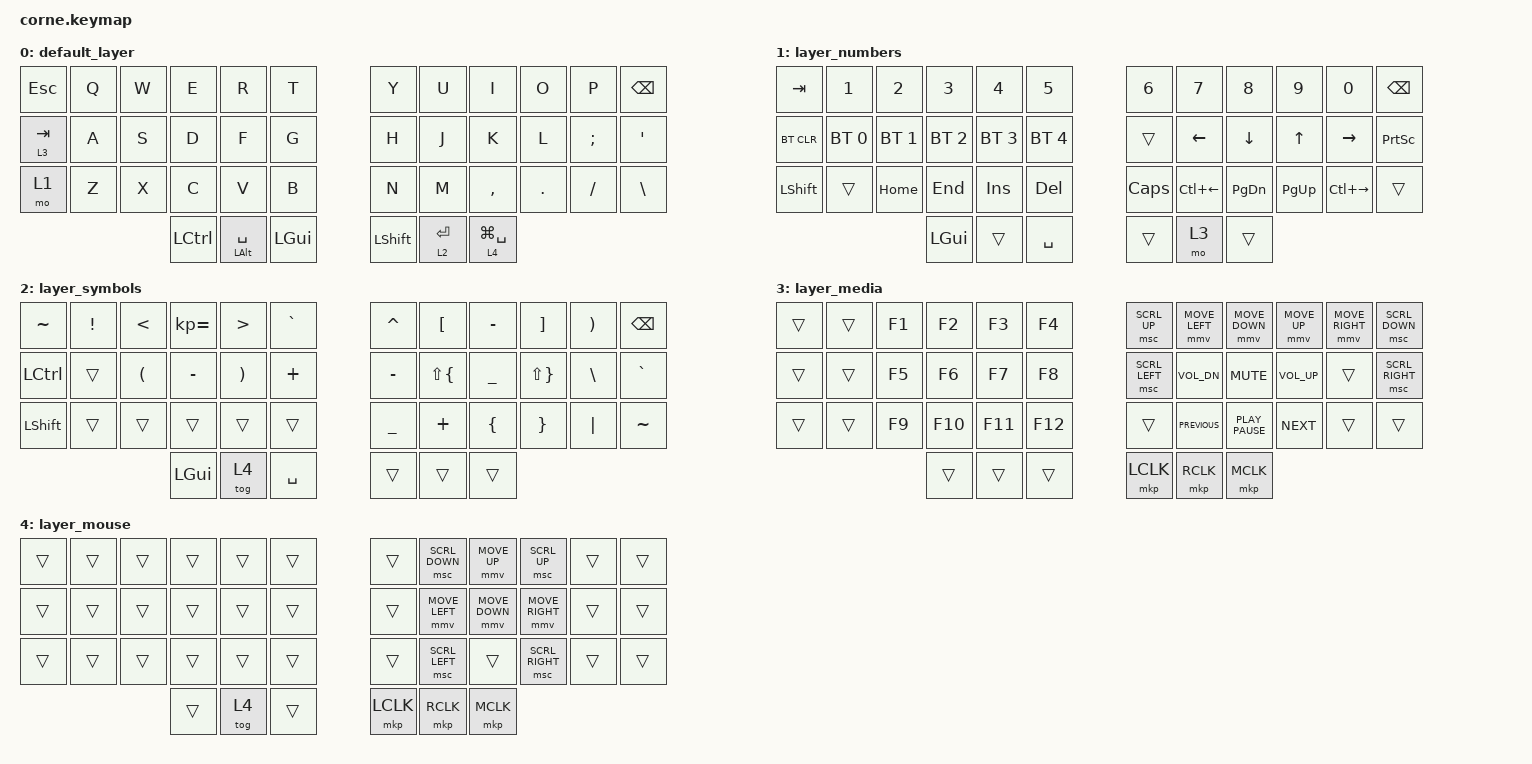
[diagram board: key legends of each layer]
/*
 * Copyright (c) 2020 The ZMK Contributors
 *
 * SPDX-License-Identifier: MIT
 */

#include <behaviors.dtsi>
#include <dt-bindings/zmk/bt.h>
#include <dt-bindings/zmk/keys.h>
#include <dt-bindings/zmk/pointing.h>
#include <dt-bindings/zmk/pointing.h>
#include <dt-bindings/zmk/pointing.h>

/ {
    combos {
        compatible = "zmk,combos";

        close_window {
            bindings = <&kp LA(F4)>;
            key-positions = <0 1>;
        };

        toggle_mouse_layer {
            bindings = <&tog 4>;
            key-positions = <2 3>;
        };
    };

    keymap {
        compatible = "zmk,keymap";

        default_layer {
            // -----------------------------------------------------------------------------------------
            // |  TAB |  Q  |  W  |  E  |  R  |  T  |   |  Y  |  U   |  I  |  O  |  P  | BSPC |
            // | CTRL |  A  |  S  |  D  |  F  |  G  |   |  H  |  J   |  K  |  L  |  ;  |  '   |
            // | SHFT |  Z  |  X  |  C  |  V  |  B  |   |  N  |  M   |  ,  |  .  |  /  | ESC  |
            //                    | GUI | LWR | SPC |   | ENT | RSE  | ALT |

            bindings = <
&kp ESC    &kp Q  &kp W  &kp E      &kp R               &kp T           &kp Y           &kp U        &kp I            &kp O    &kp P     &kp BSPC
&lt 3 TAB  &kp A  &kp S  &kp D      &kp F               &kp G           &kp H           &kp J        &kp K            &kp L    &kp SEMI  &kp SQT
&mo 1      &kp Z  &kp X  &kp C      &kp V               &kp B           &kp N           &kp M        &kp COMMA        &kp DOT  &kp FSLH  &kp BACKSLASH
                         &kp LCTRL  &mt LEFT_ALT SPACE  &kp LEFT_GUI    &kp LEFT_SHIFT  &lt 2 ENTER  &lt 4 LG(SPACE)
            >;
        };

        layer_numbers {
            // -----------------------------------------------------------------------------------------
            // |  TAB |  1  |  2  |  3  |  4  |  5  |   |  6  |  7  |  8  |  9  |  0  | BSPC |
            // | BTCLR| BT1 | BT2 | BT3 | BT4 | BT5 |   | LFT | DWN |  UP | RGT |     |      |
            // | SHFT |     |     |     |     |     |   |     |     |     |     |     |      |
            //                    | GUI |     | SPC |   | ENT |     | ALT |

            bindings = <
&kp TAB     &kp N1        &kp N2        &kp N3        &kp N4        &kp N5          &kp N6    &kp N7              &kp N8         &kp N9       &kp N0               &kp BSPC
&bt BT_CLR  &bt BT_SEL 0  &bt BT_SEL 1  &bt BT_SEL 2  &bt BT_SEL 3  &bt BT_SEL 4    &trans    &kp LEFT_ARROW      &kp DOWN       &kp UP       &kp RIGHT            &kp PRINTSCREEN
&kp LSHFT   &trans        &kp HOME      &kp END       &kp INSERT    &kp DELETE      &kp CAPS  &kp LC(LEFT_ARROW)  &kp PAGE_DOWN  &kp PAGE_UP  &kp LC(RIGHT_ARROW)  &trans
                                        &kp LGUI      &trans        &kp SPACE       &trans    &mo 3               &trans
            >;
        };

        layer_symbols {
            // -----------------------------------------------------------------------------------------
            // |  TAB |  !  |  @  |  #  |  $  |  %  |   |  ^  |  &  |  *  |  (  |  )  | BSPC |
            // | CTRL |     |     |     |     |     |   |  -  |  =  |  [  |  ]  |  \  |  `   |
            // | SHFT |     |     |     |     |     |   |  _  |  +  |  {  |  }  | "|" |  ~   |
            //                    | GUI |     | SPC |   | ENT |     | ALT |

            bindings = <
&kp TILDE  &kp EXCL  &kp LT                &kp KP_EQUAL  &kp GREATER_THAN       &kp GRAVE    &kp CARET  &kp LEFT_BRACKET    &kp MINUS  &kp RIGHT_BRACKET    &kp RPAR  &kp BSPC
&kp LCTRL  &trans    &kp LEFT_PARENTHESIS  &kp MINUS     &kp RIGHT_PARENTHESIS  &kp PLUS     &kp MINUS  &kp LS(LEFT_BRACE)  &kp UNDER  &kp LS(RIGHT_BRACE)  &kp BSLH  &kp GRAVE
&kp LSHFT  &trans    &trans                &trans        &trans                 &trans       &kp UNDER  &kp PLUS            &kp LBRC   &kp RBRC             &kp PIPE  &kp TILDE
                                           &kp LGUI      &tog 4                 &kp SPACE    &trans     &trans              &trans
            >;
        };

        layer_media {
            bindings = <
&trans  &trans  &kp F1  &kp F2   &kp F3   &kp F4     &msc SCRL_UP    &mmv MOVE_LEFT  &mmv MOVE_DOWN    &mmv MOVE_UP     &mmv MOVE_RIGHT  &msc SCRL_DOWN
&trans  &trans  &kp F5  &kp F6   &kp F7   &kp F8     &msc SCRL_LEFT  &kp C_VOL_DN    &kp K_MUTE        &kp C_VOLUME_UP  &trans           &msc SCRL_RIGHT
&trans  &trans  &kp F9  &kp F10  &kp F11  &kp F12    &trans          &kp C_PREVIOUS  &kp K_PLAY_PAUSE  &kp K_NEXT       &trans           &trans
                        &trans   &trans   &trans     &mkp LCLK       &mkp RCLK       &mkp MCLK
            >;
        };

        layer_mouse {
            bindings = <
&trans  &trans  &trans  &trans  &trans  &trans    &trans     &msc SCRL_DOWN  &mmv MOVE_UP    &msc SCRL_UP     &trans  &trans
&trans  &trans  &trans  &trans  &trans  &trans    &trans     &mmv MOVE_LEFT  &mmv MOVE_DOWN  &mmv MOVE_RIGHT  &trans  &trans
&trans  &trans  &trans  &trans  &trans  &trans    &trans     &msc SCRL_LEFT  &trans          &msc SCRL_RIGHT  &trans  &trans
                        &trans  &tog 4  &trans    &mkp LCLK  &mkp RCLK       &mkp MCLK
            >;
        };
    };
};
